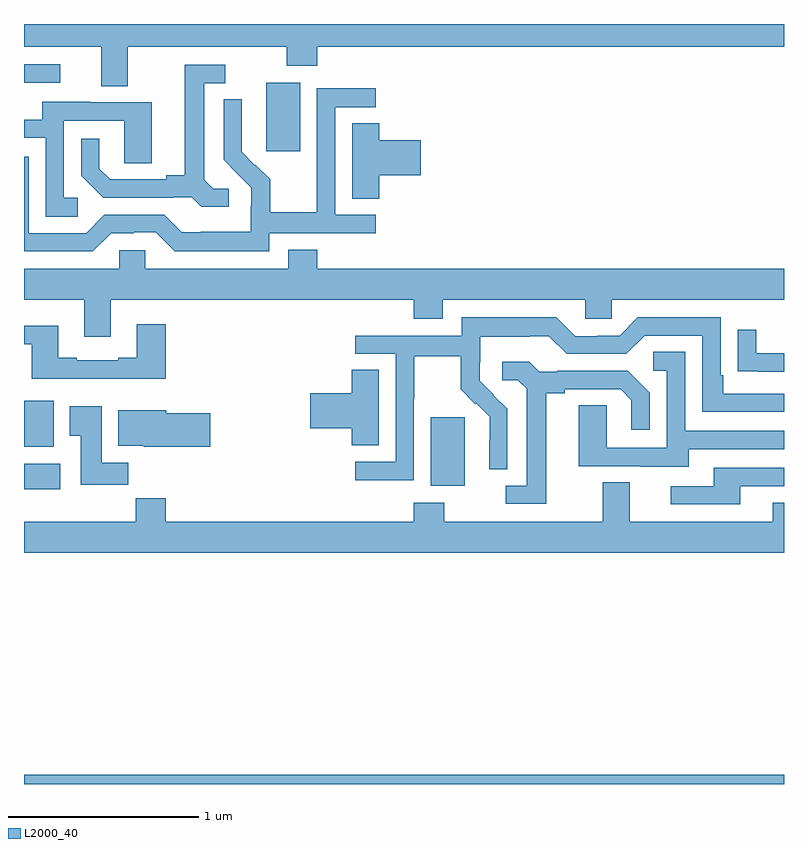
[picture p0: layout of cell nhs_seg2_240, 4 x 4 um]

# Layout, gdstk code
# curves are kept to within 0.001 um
import gdstk
lib = gdstk.Library(unit=1e-6, precision=1e-09)
def R(c, l, rs):  # rectangles x0, y0, x1, y1
    for r in rs: c.add(gdstk.rectangle(r[:2], r[2:], *l))
def P(c, l, *ps):  # polygons
    for p in ps: c.add(gdstk.Polygon(p, *l))
L2000_40 = (2000, 40)

nhs_seg2_240 = lib.new_cell('nhs_seg2_240')
R(nhs_seg2_240, L2000_40, [(123,599.8,127,599.848), (123,601.352,123.19,601.486), (125.141,601.37,125.32,601.731), (123,601.574,123.157,601.816), (124.274,603.129,124.453,603.49), (123,603.492,123.19,603.588)])
P(nhs_seg2_240, L2000_40, [(123.547,603.68),(124.384,603.68),(124.384,603.581),(124.544,603.581),(124.544,603.68),(127,603.68),(127,603.8),(123,603.8),(123,603.68),(123.407,603.68),(123.407,603.472),(123.547,603.472)],
  [(124.078,602.934),(123.996,602.934),(123.949,602.981),(123.949,603.489),(124.06,603.489),(124.06,603.585),(123.845,603.585),(123.845,603.005),(123.749,603.005),(123.749,602.982),(123.454,602.982),(123.397,603.039),(123.397,603.196),(123.3,603.196),(123.3,603.002),(123.416,602.886),(123.788,602.886),(123.788,602.889),(123.882,602.889),(123.934,602.837),(124.078,602.837)],
  [(124.29,602.7),(124.852,602.7),(124.852,602.796),(124.638,602.796),(124.638,603.363),(124.852,603.363),(124.852,603.462),(124.542,603.462),(124.542,603.032),(124.54,603.032),(124.54,602.809),(124.295,602.809),(124.295,602.983),(124.218,603.06),(124.215,603.057),(124.145,603.128),(124.146,603.404),(124.05,603.404),(124.05,603.086),(124.196,602.938),(124.196,602.841),(124.194,602.841),(124.194,602.707),(123.931,602.707),(123.931,602.703),(123.831,602.703),(123.738,602.796),(123.423,602.796),(123.327,602.7),(123.024,602.7),(123.024,603.102),(123,603.102),(123,602.604),(123.363,602.604),(123.459,602.7),(123.578,602.7),(123.578,602.703),(123.693,602.703),(123.793,602.603),(124.29,602.603)],
  [(123.283,602.886),(123.21,602.886),(123.21,603.291),(123.528,603.291),(123.528,603.067),(123.673,603.067),(123.673,603.387),(123.349,603.387),(123.349,603.391),(123.095,603.391),(123.095,603.297),(123,603.297),(123,603.201),(123.114,603.201),(123.114,602.785),(123.283,602.785)],
  [(124.871,603.005),(125.089,603.005),(125.089,603.188),(124.871,603.188),(124.871,603.278),(124.727,603.278),(124.727,602.881),(124.871,602.881)],
  [(123.457,602.348),(125.051,602.348),(125.051,602.249),(125.203,602.249),(125.203,602.348),(125.955,602.348),(125.955,602.25),(126.093,602.25),(126.093,602.348),(127,602.348),(127,602.512),(124.544,602.512),(124.544,602.611),(124.391,602.611),(124.391,602.512),(123.639,602.512),(123.639,602.61),(123.501,602.61),(123.501,602.512),(123,602.512),(123,602.348),(123.317,602.348),(123.317,602.154),(123.457,602.154)],
  [(125.052,601.828),(125.055,601.828),(125.055,602.052),(125.299,602.052),(125.299,601.877),(125.376,601.8),(125.379,601.803),(125.45,601.733),(125.45,601.61),(125.448,601.61),(125.448,601.456),(125.544,601.456),(125.544,601.774),(125.398,601.922),(125.398,602.019),(125.4,602.019),(125.4,602.153),(125.663,602.153),(125.663,602.157),(125.763,602.157),(125.856,602.064),(126.171,602.064),(126.267,602.16),(126.57,602.16),(126.57,601.758),(127,601.758),(127,601.854),(126.679,601.854),(126.679,601.951),(126.666,601.951),(126.666,602.256),(126.231,602.256),(126.135,602.16),(126.017,602.16),(126.017,602.157),(125.901,602.157),(125.801,602.257),(125.304,602.257),(125.304,602.16),(124.743,602.16),(124.743,602.064),(124.956,602.064),(124.956,601.497),(124.743,601.497),(124.743,601.399),(125.052,601.399)],
  [(123.746,602.221),(123.593,602.221),(123.593,602.044),(123.497,602.044),(123.497,602.031),(123.277,602.031),(123.277,602.044),(123.181,602.044),(123.181,602.212),(123,602.212),(123,602.115),(123.041,602.115),(123.041,601.934),(123.746,601.934)],
  [(127,602.067),(126.853,602.067),(126.853,602.191),(126.757,602.191),(126.757,601.972),(126.859,601.972),(126.859,601.971),(127,601.971)],
  [(126.499,601.563),(127,601.563),(127,601.659),(126.48,601.659),(126.48,602.075),(126.312,602.075),(126.312,601.974),(126.384,601.974),(126.384,601.569),(126.066,601.569),(126.066,601.793),(125.921,601.793),(125.921,601.473),(126.245,601.473),(126.245,601.469),(126.499,601.469)],
  [(125.749,601.856),(125.845,601.856),(125.845,601.878),(126.14,601.878),(126.197,601.821),(126.197,601.665),(126.294,601.665),(126.294,601.858),(126.178,601.974),(125.806,601.974),(125.806,601.971),(125.712,601.971),(125.66,602.023),(125.517,602.023),(125.517,601.926),(125.598,601.926),(125.645,601.879),(125.645,601.371),(125.535,601.371),(125.535,601.275),(125.749,601.275)],
  [(124.867,601.979),(124.724,601.979),(124.724,601.856),(124.506,601.856),(124.506,601.673),(124.724,601.673),(124.724,601.582),(124.867,601.582)],
  [(123.548,601.492),(123.409,601.492),(123.409,601.789),(123.242,601.789),(123.242,601.633),(123.299,601.633),(123.299,601.374),(123.548,601.374)],
  [(123.979,601.751),(123.748,601.751),(123.748,601.768),(123.497,601.768),(123.497,601.58),(123.63,601.58),(123.63,601.574),(123.979,601.574)],
  [(126.769,601.368),(127,601.368),(127,601.464),(126.629,601.464),(126.629,601.368),(126.405,601.368),(126.405,601.272),(126.769,601.272)],
  [(127,601.279),(126.941,601.279),(126.941,601.18),(126.187,601.18),(126.187,601.388),(126.047,601.388),(126.047,601.18),(125.211,601.18),(125.211,601.279),(125.051,601.279),(125.051,601.18),(123.746,601.18),(123.746,601.304),(123.589,601.304),(123.589,601.18),(123,601.18),(123,601.016),(127,601.016)])

lib.write_gds('nhs_seg2_240.gds')
